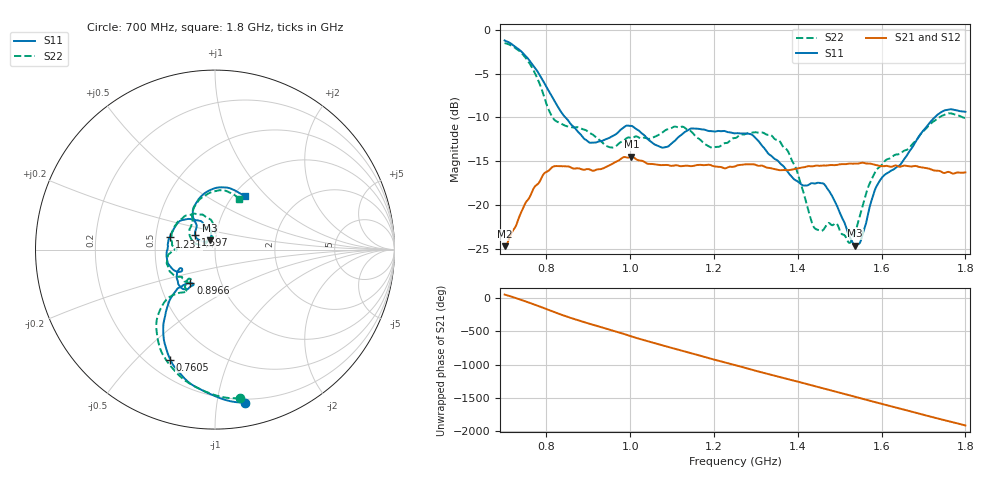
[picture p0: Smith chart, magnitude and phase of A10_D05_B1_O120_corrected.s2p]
! Created with skrf 1.9.0 (http://scikit-rf.org).
# Hz S RI R 50.0
!freq ReS11 ImS11 ReS21 ImS21 ReS12 ImS12 ReS22 ImS22
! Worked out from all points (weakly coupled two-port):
!   1601 points, 700 MHz to 1.8 GHz, reference 50 ohm
!   highest |S21| = -14.50 dB at 1.002 GHz (marker M1); lowest = -24.7 dB at 700 MHz (marker M2)
!   lowest |S11| = -24.6 dB at 1.537 GHz (marker M3), VSWR 1.12, Z = 47.1 + j4.93 ohm
!   |S11| at or under -10 dB: 845.2 MHz to 1.727 GHz (881.4 MHz wide, 68.5 % of centre)
!   |S22| runs from -24.3 to -1.5 dB; largest |S21 - S12| = 0.0035
!   S11 on the Smith chart (normalised r, x): 700 MHz: 0.17, -1.20; 760.5 MHz: 0.29, -0.63; 896.6 MHz: 0.71, -0.28; 1.231 GHz: 0.59, +0.09; 1.597 GHz: 0.79, +0.14; 1.8 GHz: 1.12, +0.76
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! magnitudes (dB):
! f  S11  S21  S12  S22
! 700 MHz  -1.2  -24.7  -24.5  -1.5
! 760.5 MHz  -3.6  -19.0  -18.9  -3.9
! 816.9 MHz  -7.9  -15.6  -15.7  -10.2
! 883.6 MHz  -12.1  -15.9  -15.8  -11.3
! 896.6 MHz  -12.7  -15.9  -16.0  -11.5
! 953 MHz  -12.3  -15.4  -15.4  -13.4
! 1.002 GHz  -11.0  -14.5  -14.6  -12.4
! 1.067 GHz  -13.3  -15.4  -15.4  -12.0
! 1.124 GHz  -11.9  -15.6  -15.5  -11.1
! 1.231 GHz  -11.6  -15.8  -15.7  -12.9
! 1.25 GHz  -11.8  -15.6  -15.5  -12.4
! 1.357 GHz  -15.2  -16.0  -16.0  -12.7
! 1.395 GHz  -17.2  -15.9  -15.9  -15.7
! 1.434 GHz  -17.5  -15.6  -15.6  -22.0
! 1.469 GHz  -18.1  -15.5  -15.5  -22.2
! 1.523 GHz  -23.6  -15.3  -15.3  -24.3
! 1.537 GHz  -24.6  -15.3  -15.3  -23.1
! 1.569 GHz  -20.7  -15.3  -15.3  -17.8
! 1.597 GHz  -17.1  -15.5  -15.5  -15.6
! 1.617 GHz  -16.3  -15.6  -15.5  -14.7
! 1.735 GHz  -9.6  -16.1  -16.1  -10.1
! 1.8 GHz  -9.4  -16.3  -16.3  -10.1
